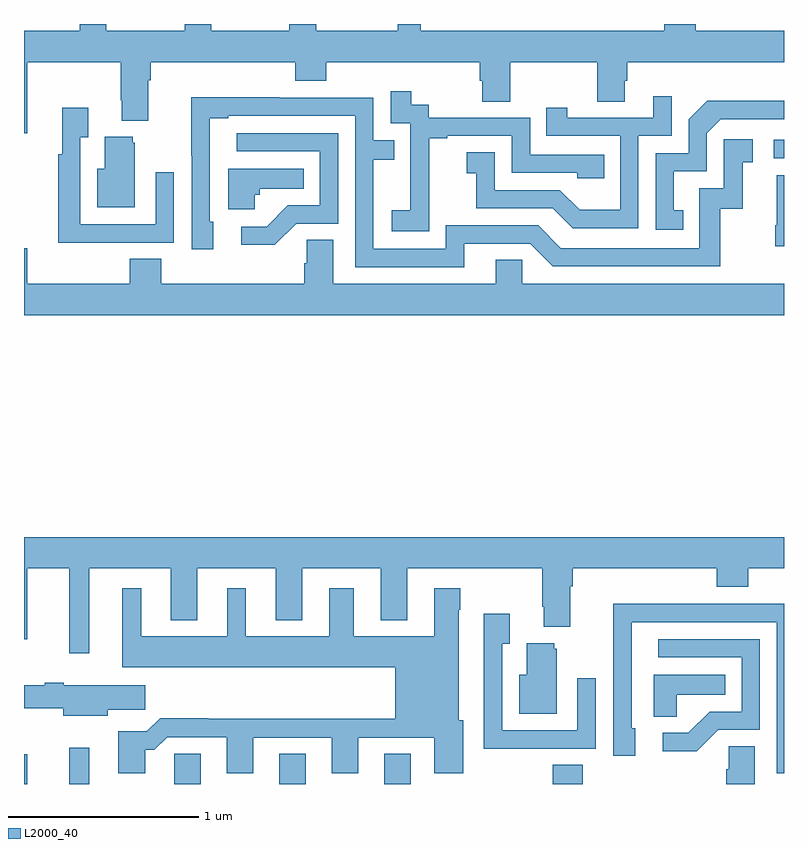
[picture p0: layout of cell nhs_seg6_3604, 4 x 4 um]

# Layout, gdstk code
import gdstk
lib = gdstk.Library(unit=1e-6, precision=1e-09)
def R(c, l, rs):  # rectangles x0, y0, x1, y1
    for r in rs: c.add(gdstk.rectangle(r[:2], r[2:], *l))
def P(c, l, *ps):  # polygons
    for p in ps: c.add(gdstk.Polygon(p, *l))
L2000_40 = (2000, 40)

nhs_seg6_3604 = lib.new_cell('nhs_seg6_3604')
R(nhs_seg6_3604, L2000_40, [(321,979.5,321.016,979.657), (321.239,979.5,321.343,979.69), (321.792,979.5,321.931,979.658), (322.343,979.5,322.483,979.658), (322.895,979.5,323.035,979.658), (323.782,979.5,323.942,979.601), (324.945,982.794,325,982.89)])
P(nhs_seg6_3604, L2000_40, [(321.016,983.3),(321.508,983.3),(321.508,983.098),(321.515,983.098),(321.515,982.991),(321.655,982.991),(321.655,983.204),(321.668,983.204),(321.668,983.3),(322.427,983.3),(322.427,983.201),(322.592,983.201),(322.592,983.3),(323.399,983.3),(323.399,983.202),(323.411,983.202),(323.411,983.092),(323.559,983.092),(323.559,983.3),(324.016,983.3),(324.016,983.092),(324.163,983.092),(324.163,983.202),(324.176,983.202),(324.176,983.3),(325,983.3),(325,983.464),(324.536,983.464),(324.536,983.5),(324.371,983.5),(324.371,983.464),(323.089,983.464),(323.089,983.5),(322.967,983.5),(322.967,983.464),(322.537,983.464),(322.537,983.5),(322.397,983.5),(322.397,983.464),(321.985,983.464),(321.985,983.5),(321.845,983.5),(321.845,983.464),(321.433,983.464),(321.433,983.5),(321.293,983.5),(321.293,983.464),(321,983.464),(321,982.926),(321.016,982.926)],
  [(323.133,982.615),(323.132,982.615),(323.132,982.899),(323.227,982.899),(323.227,982.911),(323.568,982.911),(323.568,982.716),(323.913,982.716),(323.913,982.689),(324.053,982.689),(324.053,982.812),(323.664,982.812),(323.664,983.007),(323.13,983.007),(323.13,983.076),(323.038,983.076),(323.038,983.146),(322.929,983.146),(322.929,982.977),(323.034,982.977),(323.034,982.748),(323.033,982.748),(323.033,982.519),(322.935,982.519),(322.935,982.409),(323.133,982.409)],
  [(324.234,982.911),(324.408,982.911),(324.408,983.119),(324.311,983.119),(324.311,983.007),(323.86,983.007),(323.86,983.059),(323.749,983.059),(323.749,982.911),(324.138,982.911),(324.138,982.522),(323.924,982.522),(323.82,982.626),(323.478,982.626),(323.478,982.825),(323.331,982.825),(323.331,982.715),(323.38,982.715),(323.38,982.53),(323.783,982.53),(323.888,982.425),(324.234,982.425)],
  [(323.317,982.344),(323.664,982.344),(323.784,982.224),(324.664,982.224),(324.664,982.527),(324.782,982.527),(324.782,982.773),(324.835,982.773),(324.835,982.894),(324.684,982.894),(324.684,982.635),(324.555,982.635),(324.555,982.32),(323.826,982.32),(323.706,982.44),(323.22,982.44),(323.22,982.317),(322.839,982.317),(322.839,982.786),(322.949,982.786),(322.949,982.887),(322.839,982.887),(322.839,983.112),(322.343,983.112),(322.343,983.114),(321.88,983.114),(321.88,982.807),(321.882,982.807),(321.882,982.314),(321.997,982.314),(321.997,982.458),(321.978,982.458),(321.978,983.004),(322.075,983.004),(322.075,983.016),(322.743,983.016),(322.743,982.221),(323.317,982.221)],
  [(324.47,982.521),(324.421,982.521),(324.421,982.725),(324.594,982.725),(324.594,982.926),(324.666,982.998),(325,982.998),(325,983.096),(324.596,983.096),(324.498,982.998),(324.498,982.821),(324.324,982.821),(324.324,982.416),(324.47,982.416)],
  [(321.473,982.35),(321.789,982.35),(321.789,982.72),(321.693,982.72),(321.693,982.446),(321.297,982.446),(321.297,982.903),(321.337,982.903),(321.337,983.059),(321.2,983.059),(321.2,982.814),(321.181,982.814),(321.181,982.349),(321.473,982.349)],
  [(322.434,982.449),(322.653,982.449),(322.653,982.926),(322.119,982.926),(322.119,982.83),(322.557,982.83),(322.557,982.545),(322.388,982.545),(322.277,982.434),(322.143,982.434),(322.143,982.337),(322.321,982.337)],
  [(321.583,982.875),(321.572,982.875),(321.572,982.906),(321.425,982.906),(321.425,982.738),(321.386,982.738),(321.386,982.535),(321.583,982.535)],
  [(322.215,982.602),(322.242,982.602),(322.242,982.634),(322.472,982.634),(322.472,982.738),(322.076,982.738),(322.076,982.526),(322.215,982.526)],
  [(325,982.705),(324.962,982.705),(324.962,982.441),(324.955,982.441),(324.955,982.329),(325,982.329)],
  [(325,982.132),(323.622,982.132),(323.622,982.259),(323.483,982.259),(323.483,982.132),(322.627,982.132),(322.627,982.364),(322.488,982.364),(322.488,982.241),(322.475,982.241),(322.475,982.132),(321.722,982.132),(321.722,982.265),(321.557,982.265),(321.557,982.132),(321.016,982.132),(321.016,982.321),(321,982.321),(321,981.968),(325,981.968)],
  [(321.343,980.636),(321.773,980.636),(321.773,980.363),(321.913,980.363),(321.913,980.636),(322.325,980.636),(322.325,980.363),(322.465,980.363),(322.465,980.636),(322.877,980.636),(322.877,980.363),(323.017,980.363),(323.017,980.636),(323.728,980.636),(323.728,980.434),(323.735,980.434),(323.735,980.327),(323.875,980.327),(323.875,980.54),(323.888,980.54),(323.888,980.636),(324.647,980.636),(324.647,980.537),(324.812,980.537),(324.812,980.636),(325,980.636),(325,980.8),(321,980.8),(321,980.262),(321.016,980.262),(321.016,980.636),(321.239,980.636),(321.239,980.187),(321.343,980.187)],
  [(321.637,979.679),(321.686,979.679),(321.753,979.746),(322.067,979.746),(322.067,979.557),(322.207,979.557),(322.207,979.743),(322.619,979.743),(322.619,979.557),(322.759,979.557),(322.759,979.743),(323.159,979.743),(323.159,979.557),(323.311,979.557),(323.311,979.836),(323.287,979.836),(323.287,980.417),(323.295,980.417),(323.295,980.53),(323.159,980.53),(323.159,980.278),(322.735,980.278),(322.735,980.53),(322.607,980.53),(322.607,980.278),(322.168,980.278),(322.168,980.53),(322.07,980.53),(322.07,980.278),(321.616,980.278),(321.616,980.53),(321.518,980.53),(321.518,980.114),(322.955,980.114),(322.955,979.844),(321.971,979.844),(321.971,979.847),(321.716,979.847),(321.646,979.777),(321.497,979.777),(321.497,979.557),(321.637,979.557)],
  [(325,980.448),(324.563,980.448),(324.563,980.45),(324.1,980.45),(324.1,980.143),(324.102,980.143),(324.102,979.65),(324.217,979.65),(324.217,979.794),(324.198,979.794),(324.198,980.352),(324.963,980.352),(324.963,979.557),(325,979.557)],
  [(323.693,979.686),(324.009,979.686),(324.009,980.056),(323.913,980.056),(323.913,979.782),(323.517,979.782),(323.517,980.239),(323.557,980.239),(323.557,980.395),(323.42,980.395),(323.42,979.936),(323.421,979.936),(323.421,979.685),(323.693,979.685)],
  [(324.654,979.785),(324.873,979.785),(324.873,980.262),(324.339,980.262),(324.339,980.166),(324.777,980.166),(324.777,979.881),(324.608,979.881),(324.497,979.77),(324.363,979.77),(324.363,979.673),(324.541,979.673)],
  [(323.803,980.211),(323.792,980.211),(323.792,980.242),(323.645,980.242),(323.645,980.074),(323.606,980.074),(323.606,979.871),(323.803,979.871)],
  [(324.435,979.97),(324.692,979.97),(324.692,980.074),(324.314,980.074),(324.314,979.855),(324.435,979.855)],
  [(321.442,979.891),(321.637,979.891),(321.637,980.02),(321.21,980.02),(321.21,980.033),(321.11,980.033),(321.11,980.02),(321,980.02),(321,979.898),(321.206,979.898),(321.206,979.859),(321.442,979.859)],
  [(324.847,979.7),(324.708,979.7),(324.708,979.577),(324.695,979.577),(324.695,979.5),(324.847,979.5)])

lib.write_gds('nhs_seg6_3604.gds')
